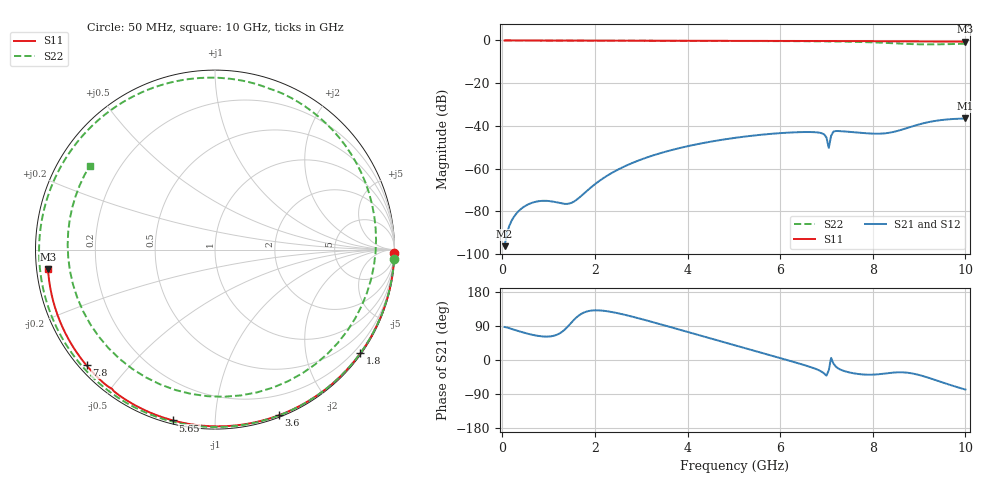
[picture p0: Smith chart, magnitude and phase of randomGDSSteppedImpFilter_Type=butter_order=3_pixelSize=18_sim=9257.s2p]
! freq	dB(S11)	phase(S11)	dB(S12)	phase(S12)
!  dB(S21)	phase(S21)	dB(S22)	phase(S22)
!S-par simulation data
#  GHz  S  DB  R 50
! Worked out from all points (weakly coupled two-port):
!   200 points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, 50 MHz to 10 GHz, reference 50 ohm
!   highest |S21| = -36.51 dB at 10 GHz (marker M1); lowest = -96.2 dB at 50 MHz (marker M2)
!   lowest |S11| = -0.6 dB at 10 GHz (marker M3), VSWR 30.70, Z = 1.63 - j2.92 ohm
!   |S11| at or under -10 dB: nowhere
!   |S22| runs from -1.8 to 0.0 dB; largest |S21 - S12| = 0
!   S11 on the Smith chart (normalised r, x): 50 MHz: open; 1.8 GHz: 0.03, -3.12; 3.6 GHz: 0.02, -1.46; 5.65 GHz: 0.02, -0.78; 7.8 GHz: 0.02, -0.38; 10 GHz: 0.03, -0.06
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0.05  -0.00 -1.0  -96.23 87.1  -96.23 87.1  -0.00 -3.1
0.95  -0.02 -18.9  -75.03 61.7  -75.03 61.7  -0.07 -56.0
1.45  -0.04 -28.8  -76.28 93.0  -76.28 93.0  -0.09 -81.9
1.75  -0.04 -34.6  -71.86 124.6  -71.86 124.6  -0.10 -96.1
1.8  -0.05 -35.5  -70.89 127.0  -70.89 127.0  -0.11 -98.3
2.5  -0.06 -48.8  -60.39 123.3  -60.39 123.3  -0.13 -127.2
3.4  -0.09 -65.4  -52.81 94.8  -52.81 94.8  -0.15 -159.0
3.6  -0.09 -68.9  -51.59 88.0  -51.59 88.0  -0.16 -165.5
5.05  -0.14 -94.0  -45.49 37.8  -45.49 37.8  -0.22 148.8
5.65  -0.17 -103.9  -43.98 17.2  -43.98 17.2  -0.26 129.0
6.7  -0.24 -120.8  -42.87 -20.5  -42.87 -20.5  -0.38 88.2
6.95  -0.26 -124.8  -43.95 -35.6  -43.95 -35.6  -0.44 76.4
7.05  -0.31 -126.4  -50.28 -27.2  -50.28 -27.2  -0.48 71.4
7.1  -0.31 -126.9  -44.64 5.7  -44.64 5.7  -0.47 68.9
7.15  -0.29 -127.6  -42.64 -9.1  -42.64 -9.1  -0.47 66.2
7.8  -0.32 -138.0  -43.31 -38.3  -43.31 -38.3  -0.75 24.2
8.1  -0.35 -142.7  -43.63 -37.9  -43.63 -37.9  -0.97 -1.2
8.35  -0.37 -146.6  -43.20 -34.4  -43.20 -34.4  -1.21 -26.2
8.7  -0.41 -152.2  -41.24 -33.0  -41.24 -33.0  -1.58 -67.2
9  -0.44 -156.9  -39.26 -39.5  -39.26 -39.5  -1.80 -105.7
9.5  -0.50 -165.0  -37.18 -58.9  -37.18 -58.9  -1.78 -166.1
10  -0.57 -173.3  -36.51 -78.0  -36.51 -78.0  -1.52 146.3
